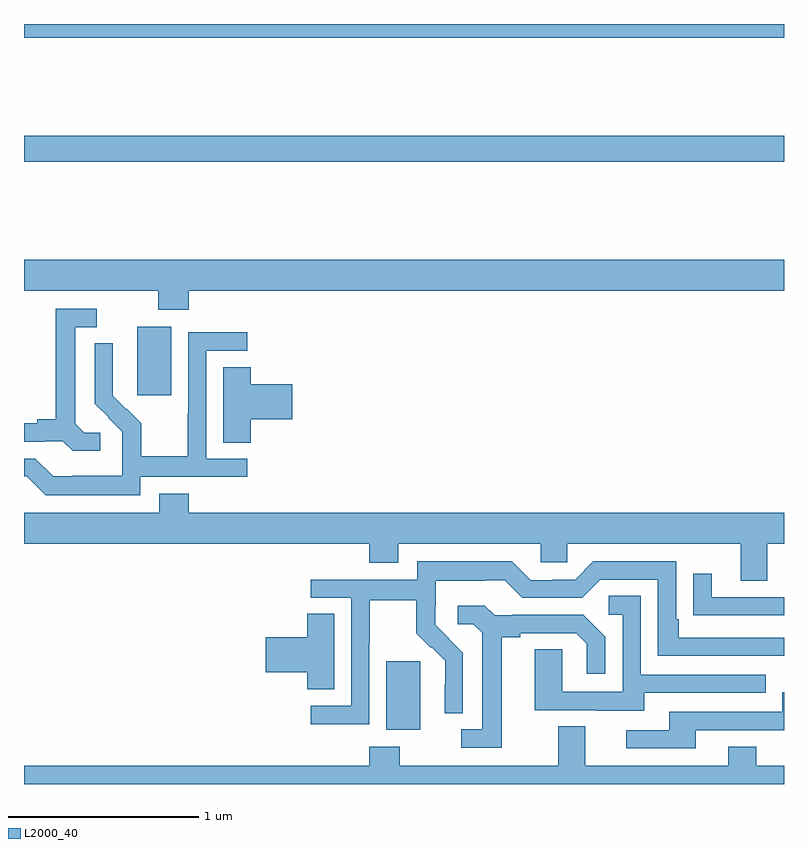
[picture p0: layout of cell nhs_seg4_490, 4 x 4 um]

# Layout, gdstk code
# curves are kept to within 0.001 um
import gdstk
lib = gdstk.Library(unit=1e-6, precision=1e-09)
def R(c, l, rs):  # rectangles x0, y0, x1, y1
    for r in rs: c.add(gdstk.rectangle(r[:2], r[2:], *l))
def P(c, l, *ps):  # polygons
    for p in ps: c.add(gdstk.Polygon(p, *l))
L2000_40 = (2000, 40)

nhs_seg4_490 = lib.new_cell('nhs_seg4_490')
R(nhs_seg4_490, L2000_40, [(136.907,785.186,137.086,785.547), (135.596,786.945,135.775,787.306), (135,788.176,139,788.312), (135,788.828,139,788.9)])
P(nhs_seg4_490, L2000_40, [(135.866,787.496),(139,787.496),(139,787.66),(135,787.66),(135,787.496),(135.706,787.496),(135.706,787.397),(135.866,787.397)],
  [(135.4,786.75),(135.318,786.75),(135.271,786.797),(135.271,787.305),(135.382,787.305),(135.382,787.401),(135.167,787.401),(135.167,786.821),(135.071,786.821),(135.071,786.798),(135,786.798),(135,786.702),(135.11,786.702),(135.11,786.705),(135.204,786.705),(135.256,786.653),(135.4,786.653)],
  [(135.612,786.516),(136.174,786.516),(136.174,786.612),(135.96,786.612),(135.96,787.179),(136.174,787.179),(136.174,787.278),(135.864,787.278),(135.864,786.848),(135.862,786.848),(135.862,786.625),(135.617,786.625),(135.617,786.799),(135.54,786.876),(135.537,786.873),(135.467,786.944),(135.468,787.22),(135.372,787.22),(135.372,786.902),(135.518,786.754),(135.518,786.657),(135.516,786.657),(135.516,786.523),(135.253,786.523),(135.253,786.519),(135.153,786.519),(135.06,786.612),(135,786.612),(135,786.519),(135.015,786.519),(135.115,786.419),(135.612,786.419)],
  [(136.193,786.821),(136.411,786.821),(136.411,787.004),(136.193,787.004),(136.193,787.094),(136.049,787.094),(136.049,786.697),(136.193,786.697)],
  [(138.913,786.164),(139,786.164),(139,786.328),(135.866,786.328),(135.866,786.427),(135.713,786.427),(135.713,786.328),(135,786.328),(135,786.164),(136.817,786.164),(136.817,786.065),(136.969,786.065),(136.969,786.164),(137.721,786.164),(137.721,786.066),(137.859,786.066),(137.859,786.164),(138.773,786.164),(138.773,785.97),(138.913,785.97)],
  [(136.818,785.644),(136.821,785.644),(136.821,785.868),(137.065,785.868),(137.065,785.693),(137.142,785.616),(137.145,785.619),(137.216,785.549),(137.216,785.426),(137.214,785.426),(137.214,785.272),(137.31,785.272),(137.31,785.59),(137.164,785.738),(137.164,785.835),(137.166,785.835),(137.166,785.969),(137.429,785.969),(137.429,785.973),(137.529,785.973),(137.622,785.88),(137.937,785.88),(138.033,785.976),(138.336,785.976),(138.336,785.574),(139,785.574),(139,785.67),(138.445,785.67),(138.445,785.767),(138.432,785.767),(138.432,786.072),(137.997,786.072),(137.901,785.976),(137.783,785.976),(137.783,785.973),(137.667,785.973),(137.567,786.073),(137.07,786.073),(137.07,785.976),(136.509,785.976),(136.509,785.88),(136.722,785.88),(136.722,785.313),(136.509,785.313),(136.509,785.215),(136.818,785.215)],
  [(139,785.883),(138.619,785.883),(138.619,786.007),(138.523,786.007),(138.523,785.788),(138.625,785.788),(138.625,785.787),(139,785.787)],
  [(138.265,785.379),(138.905,785.379),(138.905,785.475),(138.246,785.475),(138.246,785.891),(138.078,785.891),(138.078,785.79),(138.15,785.79),(138.15,785.385),(137.832,785.385),(137.832,785.609),(137.687,785.609),(137.687,785.289),(138.011,785.289),(138.011,785.285),(138.265,785.285)],
  [(137.515,785.672),(137.611,785.672),(137.611,785.694),(137.906,785.694),(137.963,785.637),(137.963,785.481),(138.06,785.481),(138.06,785.674),(137.944,785.79),(137.572,785.79),(137.572,785.787),(137.478,785.787),(137.426,785.839),(137.283,785.839),(137.283,785.742),(137.364,785.742),(137.411,785.695),(137.411,785.187),(137.301,785.187),(137.301,785.091),(137.515,785.091)],
  [(136.633,785.795),(136.49,785.795),(136.49,785.672),(136.272,785.672),(136.272,785.489),(136.49,785.489),(136.49,785.398),(136.633,785.398)],
  [(138.535,785.184),(139,785.184),(139,785.383),(138.99,785.383),(138.99,785.28),(138.395,785.28),(138.395,785.184),(138.171,785.184),(138.171,785.088),(138.535,785.088)],
  [(139,784.996),(138.855,784.996),(138.855,785.095),(138.707,785.095),(138.707,784.996),(137.953,784.996),(137.953,785.204),(137.813,785.204),(137.813,784.996),(136.977,784.996),(136.977,785.095),(136.817,785.095),(136.817,784.996),(135,784.996),(135,784.9),(139,784.9)])

lib.write_gds('nhs_seg4_490.gds')
